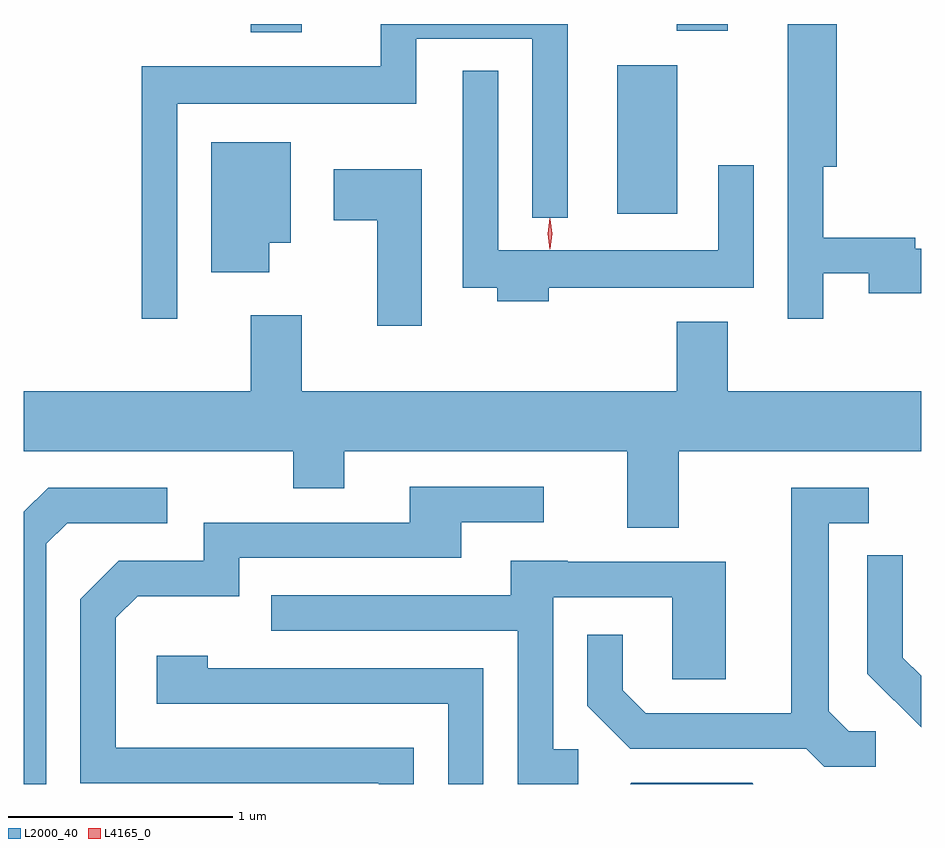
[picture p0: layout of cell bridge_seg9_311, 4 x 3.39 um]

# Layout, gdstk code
import gdstk
lib = gdstk.Library(unit=1e-6, precision=1e-09)
def R(c, l, rs):  # rectangles x0, y0, x1, y1
    for r in rs: c.add(gdstk.rectangle(r[:2], r[2:], *l))
def P(c, l, *ps):  # polygons
    for p in ps: c.add(gdstk.Polygon(p, *l))
L2000_40 = (2000, 40)
L4165_0 = (4165, 0)

bridge_seg9_311 = lib.new_cell('bridge_seg9_311')
R(bridge_seg9_311, L2000_40, [(1041.836,2081.676,1042.104,2082.339), (1040.201,2082.486,1040.429,2082.522), (1042.101,2082.491,1042.329,2082.522)])
P(bridge_seg9_311, L2000_40, [(1042.754,2081.411),(1042.956,2081.411),(1042.956,2081.321),(1043.19,2081.321),(1043.19,2081.519),(1043.164,2081.519),(1043.164,2081.569),(1042.754,2081.569),(1042.754,2081.886),(1042.814,2081.886),(1042.814,2082.522),(1042.596,2082.522),(1042.596,2081.208),(1042.754,2081.208)],
  [(1039.874,2082.166),(1040.939,2082.166),(1040.939,2082.456),(1041.456,2082.456),(1041.456,2081.658),(1041.614,2081.658),(1041.614,2082.522),(1040.781,2082.522),(1040.781,2082.334),(1039.716,2082.334),(1039.716,2081.208),(1039.874,2081.208)],
  [(1041.529,2081.346),(1042.444,2081.346),(1042.444,2081.893),(1042.286,2081.893),(1042.286,2081.514),(1041.304,2081.514),(1041.304,2082.313),(1041.146,2082.313),(1041.146,2081.346),(1041.301,2081.346),(1041.301,2081.286),(1041.529,2081.286)],
  [(1040.284,2081.546),(1040.379,2081.546),(1040.379,2081.994),(1040.026,2081.994),(1040.026,2081.416),(1040.284,2081.416)],
  [(1040.964,2081.874),(1040.571,2081.874),(1040.571,2081.646),(1040.766,2081.646),(1040.766,2081.176),(1040.964,2081.176)],
  [(1042.109,2080.616),(1043.19,2080.616),(1043.19,2080.884),(1042.329,2080.884),(1042.329,2081.194),(1042.101,2081.194),(1042.101,2080.884),(1040.429,2080.884),(1040.429,2081.224),(1040.201,2081.224),(1040.201,2080.884),(1039.19,2080.884),(1039.19,2080.616),(1040.391,2080.616),(1040.391,2080.451),(1040.619,2080.451),(1040.619,2080.616),(1041.881,2080.616),(1041.881,2080.276),(1042.109,2080.276)],
  [(1040.929,2079.294),(1039.599,2079.294),(1039.599,2079.874),(1039.697,2079.971),(1040.149,2079.971),(1040.149,2080.141),(1041.139,2080.141),(1041.139,2080.301),(1041.507,2080.301),(1041.507,2080.459),(1040.911,2080.459),(1040.911,2080.299),(1039.991,2080.299),(1039.991,2080.129),(1039.613,2080.129),(1039.441,2079.957),(1039.441,2079.136),(1040.771,2079.136),(1040.771,2079.133),(1040.929,2079.133)],
  [(1042.988,2079.369),(1042.867,2079.369),(1042.779,2079.457),(1042.779,2080.296),(1042.958,2080.296),(1042.958,2080.454),(1042.611,2080.454),(1042.611,2079.449),(1041.962,2079.449),(1041.859,2079.552),(1041.859,2079.798),(1041.701,2079.798),(1041.701,2079.483),(1041.894,2079.291),(1042.679,2079.291),(1042.758,2079.211),(1042.988,2079.211)],
  [(1039.289,2080.204),(1039.382,2080.296),(1039.828,2080.296),(1039.828,2080.454),(1039.299,2080.454),(1039.19,2080.346),(1039.19,2079.133),(1039.289,2079.133)],
  [(1043.19,2079.616),(1043.109,2079.697),(1043.109,2080.153),(1042.951,2080.153),(1042.951,2079.624),(1043.19,2079.385)],
  [(1041.662,2079.289),(1041.549,2079.289),(1041.549,2079.966),(1042.081,2079.966),(1042.081,2079.601),(1042.319,2079.601),(1042.319,2080.124),(1041.615,2080.124),(1041.615,2080.129),(1041.361,2080.129),(1041.361,2079.974),(1040.293,2079.974),(1040.293,2079.816),(1041.391,2079.816),(1041.391,2079.133),(1041.662,2079.133)],
  [(1041.239,2079.649),(1040.009,2079.649),(1040.009,2079.704),(1039.781,2079.704),(1039.781,2079.491),(1041.081,2079.491),(1041.081,2079.133),(1041.239,2079.133)],
  [(1042.437,2079.139),(1041.899,2079.139),(1041.893,2079.133),(1042.443,2079.133)])
P(bridge_seg9_311, L4165_0, [(1041.534,2081.517),(1041.525,2081.587),(1041.534,2081.656),(1041.535,2081.656),(1041.535,2081.656),(1041.545,2081.587),(1041.535,2081.517),(1041.535,2081.517)],
  [(1041.536,2081.519),(1041.536,2081.52),(1041.526,2081.586),(1041.536,2081.652),(1041.536,2081.653),(1041.537,2081.652),(1041.546,2081.586),(1041.537,2081.52)])

lib.write_gds('bridge_seg9_311.gds')
